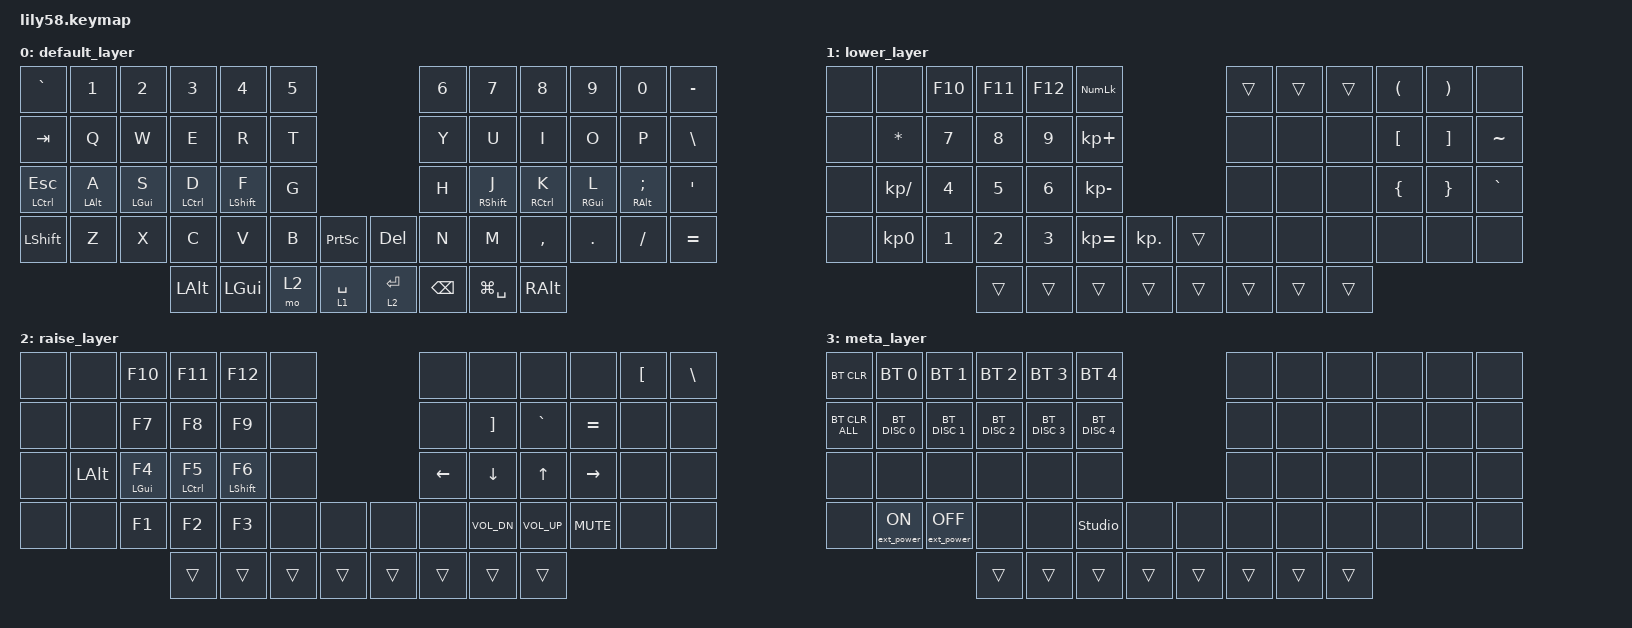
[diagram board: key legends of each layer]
/*
 * Copyright (c) 2020 The ZMK Contributors
 *
 * SPDX-License-Identifier: MIT
 */

#include <behaviors.dtsi>
#include <dt-bindings/zmk/bt.h>
#include <dt-bindings/zmk/ext_power.h>
#include <dt-bindings/zmk/keys.h>

&mt { flavor = "balanced"; };

/ {
    behaviors {
        hml: home_row_mod_left {
            compatible = "zmk,behavior-hold-tap";
            label = "HOME_ROW_MOD_LEFT";
            bindings = <&kp>, <&kp>;

            #binding-cells = <2>;
            tapping-term-ms = <280>;
            quick-tap-ms = <175>;
            require-prior-idle-ms = <150>;
            flavor = "balanced";
            hold-trigger-on-release;
            hold-trigger-key-positions = <6 7 8 9 10 11 18 19 20 21 22 23 30 31 32 33 34 35 44 45 46 47 48 49>;
        };

        hmr: home_row_mod_right {
            compatible = "zmk,behavior-hold-tap";
            label = "HOME_ROW_MOD_RIGHT";
            bindings = <&kp>, <&kp>;

            #binding-cells = <2>;
            tapping-term-ms = <280>;
            quick-tap-ms = <175>;
            require-prior-idle-ms = <150>;
            flavor = "balanced";
            hold-trigger-on-release;
            hold-trigger-key-positions = <0 1 2 3 4 5 12 13 14 15 16 17 24 25 26 27 28 29 36 37 38 39 40 41>;
        };
    };

    keymap {
        compatible = "zmk,keymap";

        default_layer {
            // ------------------------------------------------------------------------------------------------------------
            // |  ESC  |  1  |  2  |  3   |  4   |  5   |                   |  6   |  7    |  8    |  9   |   0   |   `   |
            // |  TAB  |  Q  |  W  |  E   |  R   |  T   |                   |  Y   |  U    |  I    |  O   |   P   |   -   |
            // |  CTRL |  A  |  S  |  D   |  F   |  G   |                   |  H   |  J    |  K    |  L   |   ;   |   '   |
            // | SHIFT |  Z  |  X  |  C   |  V   |  B   |   "["  |  |  "]"  |  N   |  M    |  ,    |  .   |   /   | SHIFT |
            //                     | ALT  | GUI  | LOWER|  SPACE |  | ENTER | RAISE| BSPC  | GUI   |

            bindings = <
&kp GRAVE         &kp N1       &kp N2       &kp N3        &kp N4         &kp N5                                  &kp N6         &kp N7         &kp N8        &kp N9       &kp N0          &kp MINUS
&kp TAB           &kp Q        &kp W        &kp E         &kp R          &kp T                                   &kp Y          &kp U          &kp I         &kp O        &kp P           &kp BACKSLASH
&mt LCTRL ESCAPE  &hml LALT A  &hml LGUI S  &hml LCTRL D  &hml LSHIFT F  &kp G                                   &kp H          &hmr RSHIFT J  &hmr RCTRL K  &hmr RGUI L  &hmr RALT SEMI  &kp SQT
&kp LSHFT         &kp Z        &kp X        &kp C         &kp V          &kp B   &kp PRINTSCREEN    &kp DELETE   &kp N          &kp M          &kp COMMA     &kp DOT      &kp FSLH        &kp EQUAL
                                            &kp LALT      &kp LGUI       &mo 2   &lt 1 SPACE        &lt 2 ENTER  &kp BACKSPACE  &kp LG(SPACE)  &kp RALT
            >;
        };

        lower_layer {
            // ------------------------------------------------------------------------------------------------------------
            // | BTCLR | BT1 | BT2 |  BT3 |  BT4 |  BT5 |                   |      |       |       |      |       |       |
            // |  F1   |  F2 |  F3 |  F4  |  F5  |  F6  |                   |  F7  |  F8   |  F9   |  F10 |  F11  |  F12  |
            // |   `   |  !  |  @  |  #   |  $   |  %   |                   |  ^   |  &    |  *    |  (   |   )   |   ~   |
            // |       |     |     |      |      |      |        |  |       |      |  _    |  +    |  {   |   }   |  "|"  |
            //                     |      |      |      |        |  |       |      |       |       |

            bindings = <
&none  &none            &kp F10  &kp F11  &kp F12  &kp KP_NUMLOCK                        &trans  &trans  &trans  &kp LPAR          &kp RPAR           &none
&none  &kp STAR         &kp N7   &kp N8   &kp N9   &kp KP_PLUS                           &none   &none   &none   &kp LEFT_BRACKET  &kp RIGHT_BRACKET  &kp TILDE
&none  &kp KP_DIVIDE    &kp N4   &kp N5   &kp N6   &kp KP_MINUS                          &none   &none   &none   &kp LEFT_BRACE    &kp RIGHT_BRACE    &kp GRAVE
&none  &kp KP_NUMBER_0  &kp N1   &kp N2   &kp N3   &kp KP_EQUAL    &kp KP_DOT    &trans  &none   &none   &none   &none             &none              &none
                                 &trans   &trans   &trans          &trans        &trans  &trans  &trans  &trans
            >;
        };

        raise_layer {
            // ------------------------------------------------------------------------------------------------------------
            // |       |     |     |      |      |      |                   |      |       |       |      |       |       |
            // |   `   |  1  |  2  |  3   |  4   |  5   |                   |  6   |   7   |   8   |  9   |   0   |       |
            // |   F1  |  F2 |  F3 |  F4  |  F5  |  F6  |                   |      |   <-  |   v   |  ^   |  ->   |       |
            // |   F7  |  F8 |  F9 |  F10 |  F11 |  F12 |        |  |       |  +   |   -   |   =   |  [   |   ]   |   \   |
            //                     |      |      |      |        |  |       |      |       |       |

            bindings = <
&none  &none     &kp F10       &kp F11        &kp F12         &none                     &none     &none              &none         &none       &kp LEFT_BRACKET  &kp BACKSLASH
&none  &none     &kp F7        &kp F8         &kp F9          &none                     &none     &kp RIGHT_BRACKET  &kp GRAVE     &kp EQUAL   &none             &none
&none  &kp LALT  &hml LGUI F4  &hml LCTRL F5  &hml LSHIFT F6  &none                     &kp LEFT  &kp DOWN           &kp UP_ARROW  &kp RIGHT   &none             &none
&none  &none     &kp F1        &kp F2         &kp F3          &none   &none     &none   &none     &kp C_VOL_DN       &kp C_VOL_UP  &kp C_MUTE  &none             &none
                               &trans         &trans          &trans  &trans    &trans  &trans    &trans             &trans
            >;
        };

        meta_layer {
            bindings = <
&bt BT_CLR      &bt BT_SEL 0      &bt BT_SEL 1       &bt BT_SEL 2   &bt BT_SEL 3   &bt BT_SEL 4                      &none   &none   &none   &none  &none  &none
&bt BT_CLR_ALL  &bt BT_DISC 0     &bt BT_DISC 1      &bt BT_DISC 2  &bt BT_DISC 3  &bt BT_DISC 4                     &none   &none   &none   &none  &none  &none
&none           &none             &none              &none          &none          &none                             &none   &none   &none   &none  &none  &none
&none           &ext_power EP_ON  &ext_power EP_OFF  &none          &none          &studio_unlock  &none     &none   &none   &none   &none   &none  &none  &none
                                                     &trans         &trans         &trans          &trans    &trans  &trans  &trans  &trans
            >;
        };
    };

    conditional_layers {
        compatible = "zmk,conditional-layers";

        activate_meta_layer_condition {
            if-layers = <1 2>;
            then-layer = <3>;
        };
    };
};
